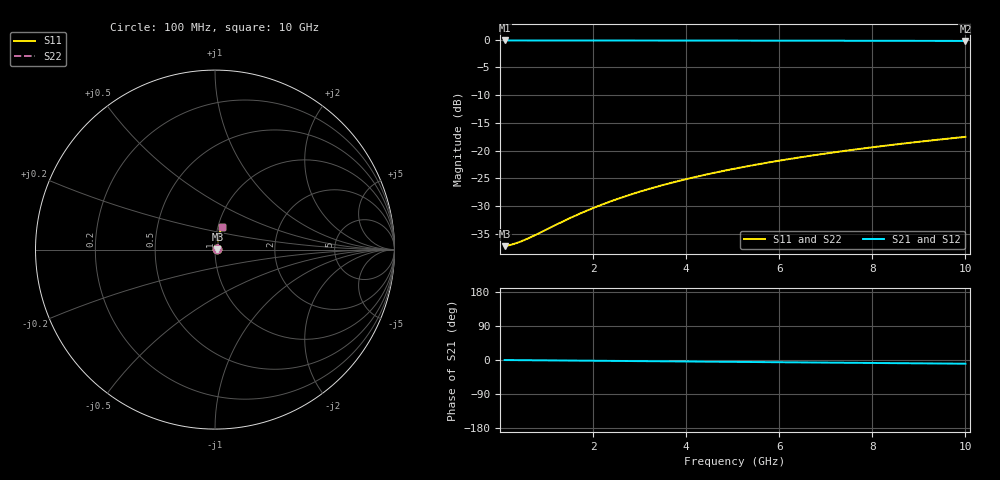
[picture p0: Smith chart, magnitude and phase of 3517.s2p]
# Hz S RI R 50.00
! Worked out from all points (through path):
!   100 points, 100 MHz to 10 GHz, reference 50 ohm
!   highest |S21| = -0.12 dB at 100 MHz (marker M1); lowest = -0.2 dB at 10 GHz (marker M2)
!   group delay of S21, straight-line fit = 2.72 ps
!   lowest |S11| = -37.3 dB at 100 MHz (marker M3), VSWR 1.03, Z = 51.4 + j0.135 ohm
!   |S11| at or under -10 dB: start of sweep to end of sweep
!   |S22| runs from -37.3 to -17.5 dB; largest |S21 - S12| = 0
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1e8  0.0136 0.00131  0.9864 -0.00169  0.9864 -0.00169  0.0136 0.00131
2e8  0.0137 0.00262  0.9863 -0.00338  0.9863 -0.00338  0.0137 0.00262
3e8  0.0138 0.00392  0.9862 -0.00507  0.9862 -0.00507  0.0138 0.00392
4e8  0.0138 0.00523  0.9861 -0.00676  0.9861 -0.00676  0.0138 0.00523
6e8  0.014 0.00785  0.986 -0.0101  0.986 -0.0101  0.014 0.00785
8e8  0.0141 0.0105  0.9859 -0.0135  0.9859 -0.0135  0.0141 0.0105
1.4e9  0.0145 0.0183  0.9854 -0.0236  0.9854 -0.0236  0.0145 0.0183
1.8e9  0.0149 0.0235  0.9851 -0.0304  0.9851 -0.0304  0.0149 0.0235
2.2e9  0.0153 0.0287  0.9846 -0.0371  0.9846 -0.0371  0.0153 0.0287
2.6e9  0.0158 0.0339  0.9841 -0.0438  0.9841 -0.0438  0.0158 0.0339
3e9  0.0164 0.0391  0.9836 -0.0505  0.9836 -0.0505  0.0164 0.0391
3.4e9  0.017 0.0443  0.9829 -0.0573  0.9829 -0.0573  0.017 0.0443
3.8e9  0.0177 0.0495  0.9822 -0.064  0.9822 -0.064  0.0177 0.0495
4.2e9  0.0184 0.0546  0.9814 -0.0707  0.9814 -0.0707  0.0184 0.0546
4.6e9  0.0192 0.0598  0.9806 -0.0773  0.9806 -0.0773  0.0192 0.0598
5.1e9  0.0204 0.0662  0.9794 -0.0857  0.9794 -0.0857  0.0204 0.0662
5.9e9  0.0224 0.0764  0.9773 -0.0989  0.9773 -0.0989  0.0224 0.0764
6.7e9  0.0247 0.0866  0.975 -0.1121  0.975 -0.1121  0.0247 0.0866
7.5e9  0.0272 0.0966  0.9723 -0.1253  0.9723 -0.1253  0.0272 0.0966
8.4e9  0.0305 0.1079  0.969 -0.14  0.969 -0.14  0.0305 0.1079
9.2e9  0.0336 0.1177  0.9658 -0.1529  0.9658 -0.1529  0.0336 0.1177
1e10  0.037 0.1275  0.9623 -0.1657  0.9623 -0.1657  0.037 0.1275
